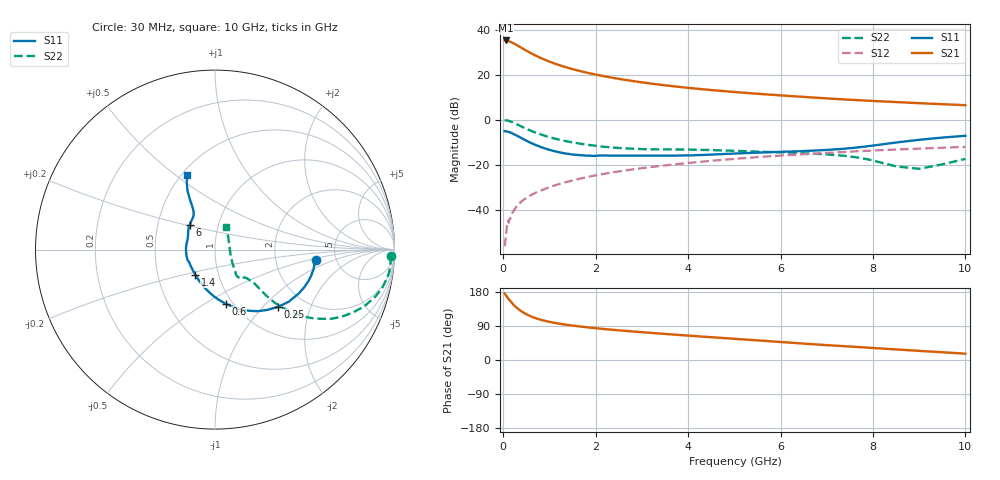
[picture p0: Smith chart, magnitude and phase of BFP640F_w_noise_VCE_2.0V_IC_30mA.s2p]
! Infineon Technologies  Discrete & RF Semiconductors
! BFP640F
! VCE =  2.0 V,  IC =  30 mA
! Common Emitter S-Parameters:  Apr 2013
# GHz  S  MA  R  50
!  f  S11  S21  S12  S22
! GHz  MAG  ANG  MAG  ANG  MAG  ANG  MAG  ANG
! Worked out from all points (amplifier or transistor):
!   99 points, 30 MHz to 10 GHz, reference 50 ohm
!   highest |S21| = 35.2 dB at 50 MHz (marker M1)
!   |S21| within 3 dB of that: start of sweep to 372.6 MHz
!   unconditionally stable (mu >= 1): 1.816 GHz to end of sweep
!   at 350 MHz: K = 0.47, MSG = 34.7 dB, |S12| = -37.0 dB
!   at 3.5 GHz: K = 1.06, MAG = 16.3 dB, |S12| = -20.1 dB
!   at 10 GHz: K = 1.04, MAG = 8.0 dB, |S12| = -11.9 dB
!   lowest NFmin = 1.02 dB at 450 MHz
!   S11 on the Smith chart (normalised r, x): 30 MHz: 3.50, -0.58; 250 MHz: 1.48, -1.22; 600 MHz: 0.93, -0.62; 1.4 GHz: 0.77, -0.22; 6 GHz: 0.73, +0.20; 10 GHz: 0.53, +0.55
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0.03  0.5656 -5.7  57.08 175.5  0.0016 103.5  0.979 -2.1
0.05  0.5597 -9.1  57.61 172.1  0.0023 127.4  0.9803 -4.6
0.08  0.5552 -15.1  56.98 166.9  0.0046 83.9  0.9751 -8.5
0.14  0.5316 -25.7  54.34 157.4  0.0063 85.6  0.9397 -15.1
0.2  0.503 -35.3  51.21 148.9  0.0088 80.0  0.89 -20.8
0.25  0.474 -42.3  48.19 142.7  0.0106 74.7  0.8424 -24.7
0.3  0.4459 -48.8  45.15 137.1  0.0126 75.8  0.7974 -28.0
0.4  0.3928 -60.3  39.3 127.9  0.0158 74.1  0.71 -32.9
0.5  0.3475 -69.9  34.26 120.8  0.0186 72.4  0.6365 -36.3
0.6  0.3092 -78.6  30.12 115.0  0.0216 71.9  0.5756 -38.6
0.7  0.279 -86.1  26.69 110.4  0.0244 72.0  0.5242 -40.0
0.9  0.2339 -99.8  21.55 103.4  0.0296 71.6  0.4454 -41.6
1.1  0.2039 -112.1  17.95 98.2  0.0351 71.0  0.3895 -41.9
1.4  0.1777 -128.5  14.29 92.4  0.043 70.5  0.3325 -41.4
1.7  0.1647 -142.8  11.86 87.8  0.0512 69.8  0.294 -40.6
2.4  0.1623 -167.8  8.471 79.4  0.07 67.0  0.243 -41.8
3.4  0.1623 168.5  6.021 69.7  0.0958 62.4  0.2225 -45.1
5.1  0.1816 145.3  4.083 55.1  0.1398 53.4  0.2053 -49.8
6  0.1961 136.4  3.503 47.5  0.1624 48.2  0.1919 -50.3
6.7  0.2092 128.2  3.14 41.6  0.1789 44.1  0.1788 -49.6
8.5  0.3163 116.5  2.489 27.9  0.2214 33.4  0.0934 -20.8
10  0.446 110.3  2.123 16.7  0.2528 24.5  0.1371 64.2
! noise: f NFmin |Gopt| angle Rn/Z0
0.45  1.02  0.21  -173  0.07
0.9  1.03  0.22  -168  0.07
1.5  1.05  0.23  -162  0.08
1.9  1.08  0.24  -156  0.08
2.4  1.11  0.24  -146  0.09
3.5  1.19  0.25  -137  0.1
5.5  1.38  0.26  -119  0.14
10  1.83  0.45  -83  0.47
